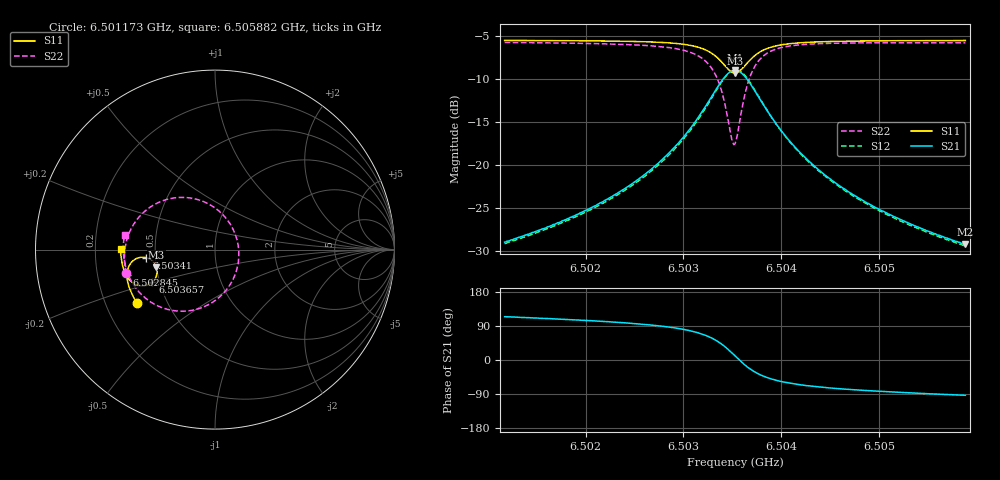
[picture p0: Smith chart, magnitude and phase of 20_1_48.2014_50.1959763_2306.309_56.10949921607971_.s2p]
#  HZ  S  RI  R  50.00
! Rohde & Schwarz Vector Network Analyzer
! Rohde-Schwarz,ZNB20-2Port,1311601062101988,3.16
! Created: UTC 3/20/2024, 11:36:54 AM
! freq[Hz]  re:S11  im:S11  re:S21  im:S21  re:S12  im:S12  re:S22  im:S22
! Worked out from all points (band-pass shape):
!   401 points, 6.501173 GHz to 6.505882 GHz, reference 50 ohm
!   highest |S21| = -9.01 dB at 6.503527 GHz (marker M1); lowest = -29.2 dB at 6.505882 GHz (marker M2)
!   |S21| within 3 dB of the highest: 6.503292 GHz to 6.503763 GHz (470.8 kHz wide, 0.00724 % of centre)
!   lowest |S11| = -9.4 dB at 6.503527 GHz (marker M3), VSWR 2.03, Z = 25 - j5.62 ohm
!   |S11| at or under -10 dB: nowhere
!   |S22| runs from -17.6 to -5.8 dB; largest |S21 - S12| = 0.012
!   S11 on the Smith chart (normalised r, x): 6.501173 GHz: 0.34, -0.27; 6.502845 GHz: 0.33, -0.12; 6.50341 GHz: 0.45, -0.05; 6.503657 GHz: 0.46, -0.20; 6.505882 GHz: 0.31, +0.00
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6.5011729e9  -0.4363 -0.2947  -0.0146 0.0327  -0.0128 0.0326  -0.4953 -0.1327
6.5019616e9  -0.4689 -0.2344  -0.0137 0.0514  -0.0112 0.0509  -0.5045 -0.0448
6.5024208e9  -0.4838 -0.1917  -0.00997 0.0737  -0.00677 0.0724  -0.4981 0.0253
6.5027504e9  -0.4905 -0.1529  -0.000215 0.1034  0.00346 0.1007  -0.4759 0.0973
6.5028446e9  -0.4908 -0.1395  0.00568 0.1159  0.00954 0.1128  -0.4629 0.1242
6.5030447e9  -0.4849 -0.1048  0.0311 0.1527  0.0346 0.1479  -0.4107 0.195
6.5031859e9  -0.4683 -0.0742  0.0728 0.1878  0.0753 0.1817  -0.3298 0.2553
6.5033154e9  -0.4306 -0.0472  0.1534 0.2141  0.1538 0.2077  -0.183 0.2909
6.5034096e9  -0.382 -0.045  0.2487 0.1962  0.2486 0.1914  -0.018 0.2441
6.503492e9  -0.3371 -0.076  0.3298 0.1176  0.3324 0.1136  0.1115 0.0891
6.5035273e9  -0.326 -0.0993  0.348 0.0666  0.352 0.0612  0.1326 -0.00715
6.5035509e9  -0.3228 -0.1165  0.3512 0.0304  0.3557 0.0237  0.1296 -0.0737
6.5035862e9  -0.3251 -0.1417  0.3432 -0.0221  0.3472 -0.0312  0.1 -0.1669
6.5036568e9  -0.3483 -0.1807  0.2939 -0.1014  0.2939 -0.1135  -0.0166 -0.2953
6.503751e9  -0.3909 -0.2015  0.2118 -0.1462  0.2066 -0.1568  -0.1839 -0.3431
6.5038216e9  -0.4181 -0.2016  0.1622 -0.1512  0.1551 -0.1596  -0.2769 -0.3294
6.503904e9  -0.442 -0.1942  0.1198 -0.1448  0.1123 -0.1505  -0.3509 -0.2963
6.5040689e9  -0.4721 -0.1732  0.07 -0.1227  0.0632 -0.1254  -0.4319 -0.2262
6.5043161e9  -0.4951 -0.1418  0.0359 -0.0946  0.0307 -0.095  -0.4808 -0.1459
6.5046575e9  -0.5106 -0.1046  0.0162 -0.0701  0.0127 -0.0696  -0.5038 -0.0711
6.5051048e9  -0.5205 -0.062  0.00545 -0.0515  0.00309 -0.0508  -0.5107 -0.00306
6.5058818e9  -0.5261 0.00485  -0.00187 -0.0346  -0.00332 -0.0338  -0.5039 0.083
